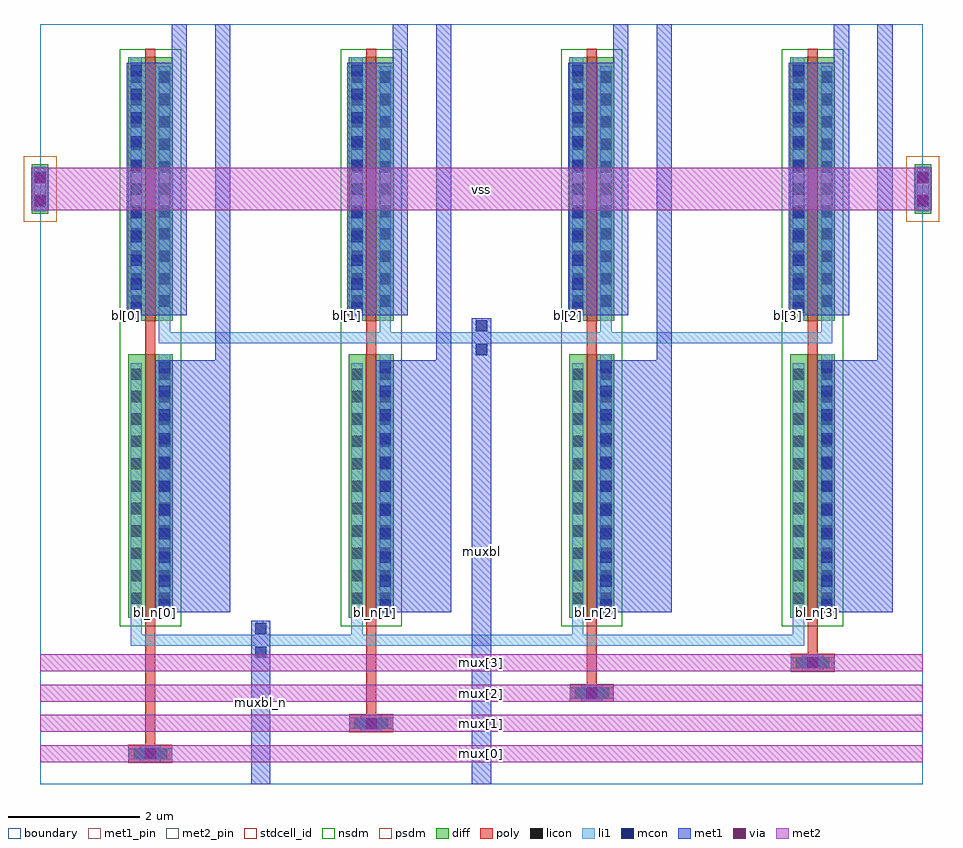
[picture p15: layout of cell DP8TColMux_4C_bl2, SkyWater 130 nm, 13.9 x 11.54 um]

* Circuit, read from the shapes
.subckt DP8TColMux_4C_bl2 bl[0] bl[1] bl[2] bl[3] bl_n[0] bl_n[1] bl_n[2] bl_n[3] mux[0] mux[1] mux[2] mux[3] muxbl muxbl_n vss
XM1 bl_n[0] mux[0] muxbl_n VSUBS sky130_fd_pr__nfet_01v8 w=4 l=0.15
XM2 muxbl mux[0] bl[0] VSUBS sky130_fd_pr__nfet_01v8 w=4 l=0.15
XM3 bl_n[1] mux[1] muxbl_n VSUBS sky130_fd_pr__nfet_01v8 w=4 l=0.15
XM4 muxbl mux[1] bl[1] VSUBS sky130_fd_pr__nfet_01v8 w=4 l=0.15
XM5 bl_n[2] mux[2] muxbl_n VSUBS sky130_fd_pr__nfet_01v8 w=4 l=0.15
XM6 muxbl mux[2] bl[2] VSUBS sky130_fd_pr__nfet_01v8 w=4 l=0.15
XM7 bl_n[3] mux[3] muxbl_n VSUBS sky130_fd_pr__nfet_01v8 w=4 l=0.15
XM8 muxbl mux[3] bl[3] VSUBS sky130_fd_pr__nfet_01v8 w=4 l=0.15
.ends

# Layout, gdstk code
import gdstk
lib = gdstk.Library(unit=1e-6, precision=1e-09)
def R(c, l, rs):  # rectangles x0, y0, x1, y1
    for r in rs: c.add(gdstk.rectangle(r[:2], r[2:], *l))
def A(c, l, x, y, w, h, nx, ny, dx, dy):  # array of equal rectangles
    R(c, l, [(x+i*dx, y+j*dy, x+i*dx+w, y+j*dy+h) for i in range(nx) for j in range(ny)])
def P(c, l, *ps):  # polygons
    for p in ps: c.add(gdstk.Polygon(p, *l))
diff = (65, 20)
poly = (66, 20)
licon = (66, 44)
li1 = (67, 20)
mcon = (67, 44)
met1_pin = (68, 16)
met1 = (68, 20)
via = (68, 44)
met2_pin = (69, 16)
met2 = (69, 20)
stdcell_id = (81, 4)
nsdm = (93, 44)
psdm = (94, 20)
boundary = (235, 4)

dp8tcolmux_4c_bl2 = lib.new_cell('DP8TColMux_4C_bl2')
A(dp8tcolmux_4c_bl2, diff, 1.335, 2.52, 0.68, 4, 4, 2, 3.35, 4.51)
R(dp8tcolmux_4c_bl2, diff, [(-0.125,8.655,0.125,9.405), (13.275,8.655,13.525,9.405)])
P(dp8tcolmux_4c_bl2, poly, [(1.34,0.325),(1.34,0.595),(1.6,0.595),(1.6,11.16),(1.75,11.16),(1.75,0.595),(2.01,0.595),(2.01,0.325)],
  [(4.69,0.785),(4.69,1.055),(4.95,1.055),(4.95,11.16),(5.1,11.16),(5.1,1.055),(5.36,1.055),(5.36,0.785)],
  [(8.04,1.245),(8.04,1.515),(8.3,1.515),(8.3,11.16),(8.45,11.16),(8.45,1.515),(8.71,1.515),(8.71,1.245)],
  [(11.39,1.705),(11.39,1.975),(11.65,1.975),(11.65,11.16),(11.8,11.16),(11.8,1.975),(12.06,1.975),(12.06,1.705)])
A(dp8tcolmux_4c_bl2, licon, 1.375, 2.735, 0.17, 0.17, 1, 11, 0, 0.34)
A(dp8tcolmux_4c_bl2, licon, 1.805, 2.735, 0.17, 0.17, 1, 11, 0, 0.34)
A(dp8tcolmux_4c_bl2, licon, 4.725, 2.735, 0.17, 0.17, 1, 11, 0, 0.34)
A(dp8tcolmux_4c_bl2, licon, 5.155, 2.735, 0.17, 0.17, 1, 11, 0, 0.34)
A(dp8tcolmux_4c_bl2, licon, 8.075, 2.735, 0.17, 0.17, 1, 11, 0, 0.34)
A(dp8tcolmux_4c_bl2, licon, 8.505, 2.735, 0.17, 0.17, 1, 11, 0, 0.34)
A(dp8tcolmux_4c_bl2, licon, 11.425, 2.735, 0.17, 0.17, 1, 11, 0, 0.34)
A(dp8tcolmux_4c_bl2, licon, 11.855, 2.735, 0.17, 0.17, 1, 11, 0, 0.34)
A(dp8tcolmux_4c_bl2, licon, 1.375, 7.245, 0.17, 0.17, 1, 11, 0, 0.34)
A(dp8tcolmux_4c_bl2, licon, 1.805, 7.245, 0.17, 0.17, 1, 11, 0, 0.34)
A(dp8tcolmux_4c_bl2, licon, 4.725, 7.245, 0.17, 0.17, 1, 11, 0, 0.34)
A(dp8tcolmux_4c_bl2, licon, 5.155, 7.245, 0.17, 0.17, 1, 11, 0, 0.34)
A(dp8tcolmux_4c_bl2, licon, 8.075, 7.245, 0.17, 0.17, 1, 11, 0, 0.34)
A(dp8tcolmux_4c_bl2, licon, 8.505, 7.245, 0.17, 0.17, 1, 11, 0, 0.34)
A(dp8tcolmux_4c_bl2, licon, 11.425, 7.245, 0.17, 0.17, 1, 11, 0, 0.34)
A(dp8tcolmux_4c_bl2, licon, 11.855, 7.245, 0.17, 0.17, 1, 11, 0, 0.34)
R(dp8tcolmux_4c_bl2, licon, [(1.42,0.375,1.59,0.545), (1.76,0.375,1.93,0.545), (4.77,0.835,4.94,1.005), (5.11,0.835,5.28,1.005), (8.12,1.295,8.29,1.465), (8.46,1.295,8.63,1.465), (11.47,1.755,11.64,1.925), (11.81,1.755,11.98,1.925), (-0.085,8.775,0.085,8.945), (13.315,8.775,13.485,8.945), (-0.085,9.115,0.085,9.285), (13.315,9.115,13.485,9.285)])
A(dp8tcolmux_4c_bl2, li1, 1.805, 2.52, 0.17, 4, 4, 1, 3.35, 0)
A(dp8tcolmux_4c_bl2, li1, 1.375, 7.03, 0.17, 4, 4, 1, 3.35, 0)
R(dp8tcolmux_4c_bl2, li1, [(1.34,0.375,2.01,0.545), (4.69,0.835,5.36,1.005), (8.04,1.295,8.71,1.465), (11.39,1.755,12.06,1.925), (-0.085,8.695,0.085,9.365), (13.315,8.695,13.485,9.365)])
P(dp8tcolmux_4c_bl2, li1, [(3.265,1.915),(3.265,2.095),(1.375,2.095),(1.375,6.385),(1.545,6.385),(1.545,2.265),(3.265,2.265),(3.265,2.445),(3.435,2.445),(3.435,2.265),(4.725,2.265),(4.725,6.385),(4.895,6.385),(4.895,2.265),(8.075,2.265),(8.075,6.385),(8.245,6.385),(8.245,2.265),(11.425,2.265),(11.425,6.385),(11.595,6.385),(11.595,2.095),(3.435,2.095),(3.435,1.915)],
  [(6.615,6.51),(6.615,6.69),(1.805,6.69),(1.805,10.895),(1.975,10.895),(1.975,6.86),(5.155,6.86),(5.155,10.895),(5.325,10.895),(5.325,6.86),(6.615,6.86),(6.615,7.04),(6.785,7.04),(6.785,6.86),(8.505,6.86),(8.505,10.895),(8.675,10.895),(8.675,6.86),(11.855,6.86),(11.855,10.895),(12.025,10.895),(12.025,6.69),(6.785,6.69),(6.785,6.51)])
A(dp8tcolmux_4c_bl2, mcon, 1.805, 2.635, 0.17, 0.17, 4, 11, 3.35, 0.36)
A(dp8tcolmux_4c_bl2, mcon, 1.375, 7.145, 0.17, 0.17, 4, 11, 3.35, 0.36)
R(dp8tcolmux_4c_bl2, mcon, [(1.59,0.375,1.76,0.545), (4.94,0.835,5.11,1.005), (8.29,1.295,8.46,1.465), (11.64,1.755,11.81,1.925), (3.265,1.915,3.435,2.085), (3.265,2.275,3.435,2.445), (6.615,6.51,6.785,6.68), (6.615,6.87,6.785,7.04), (-0.085,8.765,0.085,8.935), (13.315,8.765,13.485,8.935), (-0.085,9.125,0.085,9.295), (13.315,9.125,13.485,9.295)])
R(dp8tcolmux_4c_bl2, met1_pin, [(3.205,0,3.495,2.475), (6.555,0,6.845,7.07)])
P(dp8tcolmux_4c_bl2, met1_pin, [(1.745,2.605),(1.745,6.435),(2.66,6.435),(2.66,11.535),(2.89,11.535),(2.89,2.605)],
  [(1.315,7.115),(1.315,10.945),(2,10.945),(2,11.535),(2.23,11.535),(2.23,7.115)],
  [(5.095,2.605),(5.095,6.435),(6.01,6.435),(6.01,11.535),(6.24,11.535),(6.24,2.605)],
  [(4.665,7.115),(4.665,10.945),(5.35,10.945),(5.35,11.535),(5.58,11.535),(5.58,7.115)],
  [(8.445,2.605),(8.445,6.435),(9.36,6.435),(9.36,11.535),(9.59,11.535),(9.59,2.605)],
  [(8.015,7.115),(8.015,10.945),(8.7,10.945),(8.7,11.535),(8.93,11.535),(8.93,7.115)],
  [(11.795,2.605),(11.795,6.435),(12.71,6.435),(12.71,11.535),(12.94,11.535),(12.94,2.605)],
  [(11.365,7.115),(11.365,10.945),(12.05,10.945),(12.05,11.535),(12.28,11.535),(12.28,7.115)])
R(dp8tcolmux_4c_bl2, met1, [(3.205,0,3.495,2.475), (6.555,0,6.845,7.07), (1.515,0.33,1.835,0.59), (4.865,0.79,5.185,1.05), (8.215,1.25,8.535,1.51), (11.565,1.71,11.885,1.97)])
P(dp8tcolmux_4c_bl2, met1, [(13.285,8.705),(13.285,8.71),(13.27,8.71),(13.27,9.35),(13.285,9.35),(13.285,9.355),(13.515,9.355),(13.515,9.35),(13.53,9.35),(13.53,8.71),(13.515,8.71),(13.515,8.705)],
  [(-0.115,8.705),(-0.115,8.71),(-0.13,8.71),(-0.13,9.35),(-0.115,9.35),(-0.115,9.355),(0.115,9.355),(0.115,9.35),(0.13,9.35),(0.13,8.71),(0.115,8.71),(0.115,8.705)],
  [(1.745,2.605),(1.745,6.435),(2.66,6.435),(2.66,11.535),(2.89,11.535),(2.89,2.605)],
  [(1.315,7.115),(1.315,10.945),(2,10.945),(2,11.535),(2.23,11.535),(2.23,7.115)],
  [(5.095,2.605),(5.095,6.435),(6.01,6.435),(6.01,11.535),(6.24,11.535),(6.24,2.605)],
  [(4.665,7.115),(4.665,10.945),(5.35,10.945),(5.35,11.535),(5.58,11.535),(5.58,7.115)],
  [(8.445,2.605),(8.445,6.435),(9.36,6.435),(9.36,11.535),(9.59,11.535),(9.59,2.605)],
  [(8.015,7.115),(8.015,10.945),(8.7,10.945),(8.7,11.535),(8.93,11.535),(8.93,7.115)],
  [(11.795,2.605),(11.795,6.435),(12.71,6.435),(12.71,11.535),(12.94,11.535),(12.94,2.605)],
  [(11.365,7.115),(11.365,10.945),(12.05,10.945),(12.05,11.535),(12.28,11.535),(12.28,7.115)])
R(dp8tcolmux_4c_bl2, via, [(1.6,0.385,1.75,0.535), (4.95,0.845,5.1,0.995), (8.3,1.305,8.45,1.455), (11.65,1.765,11.8,1.915), (-0.075,8.795,0.075,8.945), (13.325,8.795,13.475,8.945), (-0.075,9.115,0.075,9.265), (13.325,9.115,13.475,9.265)])
A(dp8tcolmux_4c_bl2, met2_pin, 0, 0.33, 13.4, 0.26, 1, 4, 0, 0.46)
R(dp8tcolmux_4c_bl2, met2_pin, [(-0.13,8.71,13.53,9.35)])
A(dp8tcolmux_4c_bl2, met2, 0, 0.33, 13.4, 0.26, 1, 4, 0, 0.46)
R(dp8tcolmux_4c_bl2, met2, [(-0.13,8.71,13.53,9.35)])
A(dp8tcolmux_4c_bl2, stdcell_id, 1.595, 2.515, 0.16, 4.01, 4, 2, 3.35, 4.51)
A(dp8tcolmux_4c_bl2, nsdm, 1.21, 2.395, 0.93, 8.76, 4, 1, 3.35, 0)
R(dp8tcolmux_4c_bl2, psdm, [(-0.25,8.53,0.25,9.53), (13.15,8.53,13.65,9.53)])
R(dp8tcolmux_4c_bl2, boundary, [(0,0,13.4,11.535)])
dp8tcolmux_4c_bl2.add(gdstk.Label('mux[0]', (6.7,0.46), layer=69, texttype=16))
dp8tcolmux_4c_bl2.add(gdstk.Label('vss', (6.7,9.03), layer=69, texttype=16))
dp8tcolmux_4c_bl2.add(gdstk.Label('mux[1]', (6.7,0.92), layer=69, texttype=16))
dp8tcolmux_4c_bl2.add(gdstk.Label('mux[2]', (6.7,1.38), layer=69, texttype=16))
dp8tcolmux_4c_bl2.add(gdstk.Label('mux[3]', (6.7,1.84), layer=69, texttype=16))
dp8tcolmux_4c_bl2.add(gdstk.Label('muxbl_n', (3.35,1.238), layer=68, texttype=16))
dp8tcolmux_4c_bl2.add(gdstk.Label('bl_n[0]', (1.745,2.605), layer=68, texttype=16))
dp8tcolmux_4c_bl2.add(gdstk.Label('bl[0]', (1.315,7.115), layer=68, texttype=16))
dp8tcolmux_4c_bl2.add(gdstk.Label('muxbl', (6.7,3.535), layer=68, texttype=16))
dp8tcolmux_4c_bl2.add(gdstk.Label('bl_n[1]', (5.095,2.605), layer=68, texttype=16))
dp8tcolmux_4c_bl2.add(gdstk.Label('bl[1]', (4.665,7.115), layer=68, texttype=16))
dp8tcolmux_4c_bl2.add(gdstk.Label('bl_n[2]', (8.445,2.605), layer=68, texttype=16))
dp8tcolmux_4c_bl2.add(gdstk.Label('bl[2]', (8.015,7.115), layer=68, texttype=16))
dp8tcolmux_4c_bl2.add(gdstk.Label('bl_n[3]', (11.795,2.605), layer=68, texttype=16))
dp8tcolmux_4c_bl2.add(gdstk.Label('bl[3]', (11.365,7.115), layer=68, texttype=16))

lib.write_gds('DP8TColMux_4C_bl2.gds')
